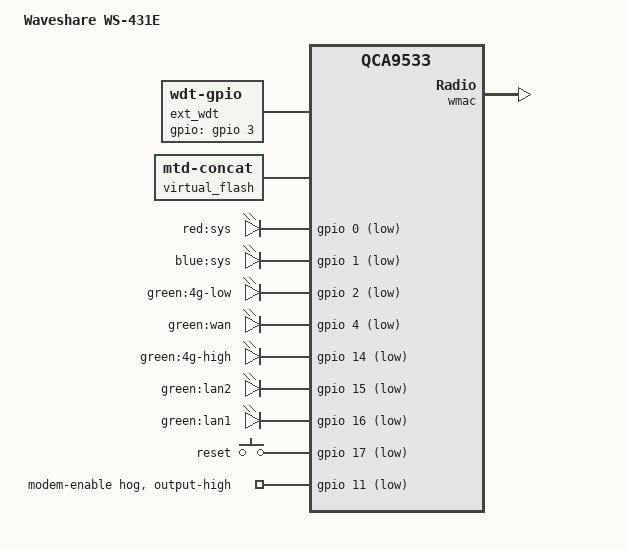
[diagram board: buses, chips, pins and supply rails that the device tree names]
// SPDX-License-Identifier: GPL-2.0-or-later OR MIT

#include <dt-bindings/input/input.h>
#include "qca9533_qca_ap143.dtsi"

/ {
	model = "Waveshare WS-431E";
	compatible = "waveshare,ws431e", "qca,ap143-16m", "qca,qca9533";

	/* External watchdog on GPIO 3 */
	ext_wdt: watchdog@0 {
		compatible = "linux,wdt-gpio";
		gpios = <&gpio 3 GPIO_ACTIVE_HIGH>; /* GPIO 3 -> 515 */
		hw_algo = "toggle";
		hw_margin_ms = <30000>;
		always-running;
	};

	/* OKLI virtual firmware partition spanning the vendor split */
	virtual_flash {
		compatible = "mtd-concat";
		devices = <&fwconcat0 &fwconcat1>;

		partitions {
			compatible = "fixed-partitions";
			#address-cells = <1>;
			#size-cells = <1>;

			partition@0 {
				reg = <0x0 0x0>;
				label = "firmware";
				compatible = "openwrt,uimage", "denx,uimage";
				openwrt,ih-magic = <IH_MAGIC_OKLI>;
			};
		};
	};

	/* LEDs: override AP143 layout with actual WS-431E wiring */
	leds {
		/* disable generic AP143 LEDs */
		wan {
			status = "disabled";
		};

		wlan {
			status = "disabled";
		};

		wps {
			status = "disabled";
		};

		lan4 {
			status = "disabled";
		};

		lan3 {
			status = "disabled";
		};

		lan2 {
			status = "disabled";
		};

		lan1 {
			status = "disabled";
		};

		/* 0 -> red:sys (2G+4G) */
		led_sys_red: sys_red {
			label = "red:sys";
			gpios = <&gpio 0 GPIO_ACTIVE_LOW>;
			linux,default-trigger = "none";
		};

		/* 1 -> blue:sys (3G+4G) */
		led_sys_blue: sys_blue {
			label = "blue:sys";
			gpios = <&gpio 1 GPIO_ACTIVE_LOW>;
			linux,default-trigger = "none";
		};

		/* 2 -> green:4g-low */
		led_4g_low: lte_low {
			label = "green:4g-low";
			gpios = <&gpio 2 GPIO_ACTIVE_LOW>;
			linux,default-trigger = "none";
		};

		/* 4 -> green:wan (WAN activity) */
		led_wan: wan_led {
			label = "green:wan";
			gpios = <&gpio 4 GPIO_ACTIVE_LOW>;
			linux,default-trigger = "netdev";
			trigger-sources = <&eth1>;
		};


		/* 14 -> green:4g-high */
		led_4g_high: lte_high {
			label = "green:4g-high";
			gpios = <&gpio 14 GPIO_ACTIVE_LOW>;
			linux,default-trigger = "none";
		};

		/* 15 -> green:lan2 (switch0 portmask 0x04) */
		led_lan2: lan2_led {
			label = "green:lan2";
			gpios = <&gpio 15 GPIO_ACTIVE_LOW>;
			linux,default-trigger = "switch0";
			switch0-mask = <0x04>;
			switch0-mode = "tx rx";
		};

		/* 16 -> green:lan1 (switch0 portmask 0x02) */
		led_lan1: lan1_led {
			label = "green:lan1";
			gpios = <&gpio 16 GPIO_ACTIVE_LOW>;
			linux,default-trigger = "switch0";
			switch0-mask = <0x02>;
			switch0-mode = "tx rx";
		};
	};

	/* Keys: single reset button on GPIO 17 */
	keys {
		compatible = "gpio-keys";

		/* disable inherited WPS from AP143 */
		wps {
			status = "disabled";
		};

		reset {
			label = "reset";
			linux,code = <KEY_RESTART>;
			gpios = <&gpio 17 GPIO_ACTIVE_LOW>;
			debounce-interval = <600>;
		};
	};
};

&partitions {
	fwconcat0: partition@50000 {
		label = "fwconcat0";
		reg = <0x050000 0xe30000>;
	};

	partition@e80000 {
		label = "loader";
		reg = <0xe80000 0x10000>;
	};

	fwconcat1: partition@e90000 {
		label = "fwconcat1";
		reg = <0xe90000 0x160000>;
	};

	partition@ff0000 {
		label = "art";
		reg = <0xff0000 0x010000>;
		read-only;

		nvmem-layout {
			compatible = "fixed-layout";
			#address-cells = <1>;
			#size-cells = <1>;

			macaddr_art_0: macaddr@0 {
				reg = <0x0 0x6>;
			};

			macaddr_art_6: macaddr@6 {
				reg = <0x6 0x6>;
			};

			cal_art_1000: calibration@1000 {
				reg = <0x1000 0x440>;
			};
		};
	};
};

&eth0 {
	nvmem-cells = <&macaddr_art_0>;
	nvmem-cell-names = "mac-address";
};

&eth1 {
	nvmem-cells = <&macaddr_art_6>;
	nvmem-cell-names = "mac-address";
};

&wmac {
	nvmem-cells = <&cal_art_1000>;
	nvmem-cell-names = "calibration";

	led {
		led-sources = <12>;
		led-active-low;
	};
};

&wdt {
	status = "disabled";
};

/* GPIO hog to power the internal Quectel LTE modem */
&gpio {
	modem_enable: modem-enable {
		gpio-hog;
		gpios = <11 GPIO_ACTIVE_LOW>; /* GPIO 11 -> modem power */
		output-high; /* modem enabled by default */
		line-name = "modem-enable";
	};
};
